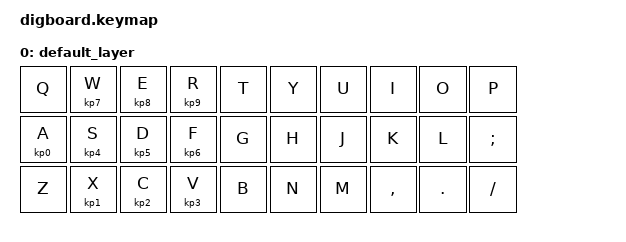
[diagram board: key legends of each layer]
#include <behaviors.dtsi>
#include <dt-bindings/zmk/keys.h>
#include <dt-bindings/zmk/bt.h>

/{
  keymap {             
    compatible = "zmk,keymap";
  
    default_layer {
      bindings = < 
        &kp Q &mt KP_N7 W &mt KP_N8 E &mt KP_N9 R &kp T &kp Y &kp U &kp I &kp O &kp P
        &mt KP_N0 A &mt KP_N4 S &mt KP_N5 D &mt KP_N6 F &kp G &kp H &kp J &kp K &kp L &kp SEMICOLON
        &kp Z &mt KP_N1 X &mt KP_N2 C &mt KP_N3 V &kp B &kp N &kp M &kp COMMA &kp DOT &kp FSLH
      >;
    };
  };
};
